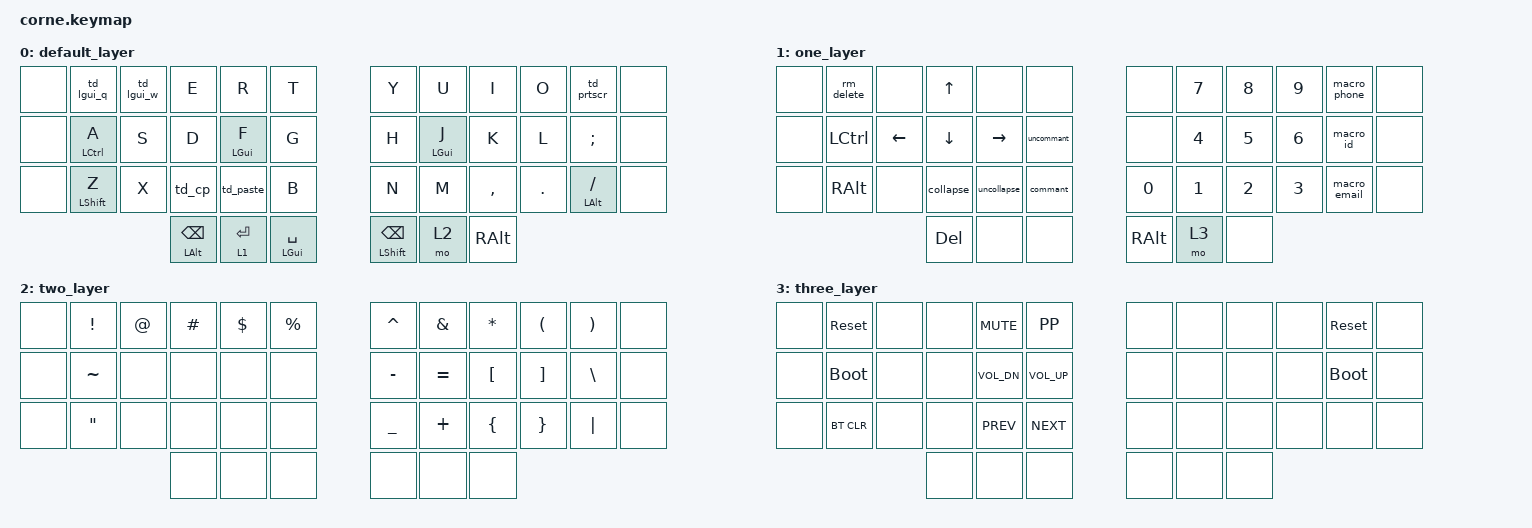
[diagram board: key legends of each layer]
/*
 * Copyright (c) 2020 The ZMK Contributors
 *
 * SPDX-License-Identifier: MIT
 */

#include <behaviors.dtsi>
#include <dt-bindings/zmk/keys.h>
#include <dt-bindings/zmk/bt.h>

// Home row mods macro
#define HRML(k1,k2) &ht LSHFT k1  &ht LALT k2  &ht LCTRL k3  &ht LGUI k4
#define HRMR(k1,k2) &ht RGUI k1  &ht RCTRL k2  &ht RALT k3  &ht RSHFT k4
#define DEFAULT 0
#define LOWER   1
#define RAISE   2
#define TRI     3

#define COMBO(NAME, BINDINGS, KEYPOS) \
  combo_##NAME { \
    timeout-ms = <50>; \
    bindings = <BINDINGS>; \
    key-positions = <KEYPOS>; \
  };

/ {
    behaviors {
        ht: hold_tap {
            label = "hold_tap";
            compatible = "zmk,behavior-hold-tap";
            #binding-cells = <2>;
            flavor = "balanced";
            tapping-term-ms = <200>;
            quick-tap-ms = <0>;
            global-quick-tap;
            bindings = <&kp>, <&kp>;
        };

        td_cp: tap_dance_cp {
            compatible = "zmk,behavior-tap-dance";
            label = "tap_dance_copy";
            #binding-cells = <0>;
            tapping-term-ms = <200>;
            bindings = <&kp C>, <&macro_cp>;
        };

        td_paste: tap_dance_paste {
            compatible = "zmk,behavior-tap-dance";
            label = "tap_dance_paste";
            #binding-cells = <0>;
            tapping-term-ms = <200>;
            bindings = <&kp V>, <&macro_paste>;
        };

        td_lgui_w: tap_dance_lguiw {
            compatible = "zmk,behavior-tap-dance";
            label = "tap_dance_lguiw";
            #binding-cells = <0>;
            tapping-term-ms = <200>;
            bindings = <&kp W>, <&macro_lgui_w>;
        };

        td_lgui_q: tap_dance_lguiq {
            compatible = "zmk,behavior-tap-dance";
            label = "tap_dance_lguiq";
            #binding-cells = <0>;
            tapping-term-ms = <200>;
            bindings = <&kp Q>, <&macro_lgui_q>;
        };

        td_prtscr: tap_dance_prtscr {
            compatible = "zmk,behavior-tap-dance";
            label = "tap_dance_prtscr";
            #binding-cells = <0>;
            tapping-term-ms = <200>;
            bindings = <&kp P>, <&kp P>,<&macro_prtsc>;
        };
    };

    macros {
        macro_cp: macro_cp {
            label = "ZM_macro_cp";
            compatible = "zmk,behavior-macro";
            #binding-cells = <0>;
            bindings
                = <&macro_press &kp LGUI>
                , <&macro_tap &kp C>
                , <&macro_release &kp LGUI>
                ;
        };

        macro_paste: macro_paste {
            label = "ZM_macro_paste";
            compatible = "zmk,behavior-macro";
            #binding-cells = <0>;
            bindings
                = <&macro_press &kp LGUI>
                , <&macro_tap &kp V>
                , <&macro_release &kp LGUI>
                ;
        };

        macro_lgui_w: macro_lgui_w {
            label = "ZM_macro_lgui_w";
            compatible = "zmk,behavior-macro";
            #binding-cells = <0>;
            bindings
                = <&macro_press &kp LGUI>
                , <&macro_tap &kp W>
                , <&macro_release &kp LGUI>
                ;
        };

        macro_lgui_q: macro_lgui_q {
            label = "ZM_macro_lgui_q";
            compatible = "zmk,behavior-macro";
            #binding-cells = <0>;
            bindings
                = <&macro_press &kp LGUI>
                , <&macro_tap &kp Q>
                , <&macro_release &kp LGUI>
                ;
        };

        macro_prtsc: macro_prtsc {
            label = "ZM_macro_prtsc";
            compatible = "zmk,behavior-macro";
            #binding-cells = <0>;
            bindings
                = <&macro_press &kp LGUI>
                , <&macro_press &kp LSHFT>
                , <&macro_tap &kp N4>
                , <&macro_release &kp LGUI>
                , <&macro_release &kp LSHFT>
                ;
        };

        macro_lang: macro_lang {
            label = "ZM_macro_lang";
            compatible = "zmk,behavior-macro";
            #binding-cells = <0>;
            bindings
                = <&macro_press &kp LCTRL>
                , <&macro_press &kp SPACE>
                , <&macro_release &kp SPACE>
                , <&macro_release &kp LCTRL>
                ;
        };  

        commant: commant {
            label = "ZM_commant";
            compatible = "zmk,behavior-macro";
            #binding-cells = <0>;
            bindings
                = <&macro_press &kp LGUI>
                , <&macro_press &kp K>
                , <&macro_release &kp K>
                , <&macro_press &kp LGUI>
                , <&macro_press &kp C>
                , <&macro_release &kp C>
                , <&macro_release &kp LGUI>
                , <&macro_release &kp LGUI>
                ;
        };

        uncommant: uncommant {
            label = "ZM_uncommant";
            compatible = "zmk,behavior-macro";
            #binding-cells = <0>;
            bindings
                = <&macro_press &kp LGUI>
                , <&macro_press &kp K>
                , <&macro_release &kp K>
                , <&macro_press &kp LGUI>
                , <&macro_press &kp U>
                , <&macro_release &kp U>
                , <&macro_release &kp LGUI>
                , <&macro_release &kp LGUI>
                ;
        };

        collapse: collapse {
            label = "ZM_collapse";
            compatible = "zmk,behavior-macro";
            #binding-cells = <0>;
            bindings
                = <&macro_press &kp LGUI>
                , <&macro_press &kp K>
                , <&macro_release &kp K>
                , <&macro_press &kp LGUI>
                , <&macro_press &kp N0>
                , <&macro_release &kp N0>
                , <&macro_release &kp LGUI>
                , <&macro_release &kp LGUI>
                ;
        };
        
        uncollapse: uncollapse {
            label = "ZM_uncollapse";
            compatible = "zmk,behavior-macro";
            #binding-cells = <0>;
            bindings
                = <&macro_press &kp LGUI>
                , <&macro_press &kp K>
                , <&macro_release &kp K>
                , <&macro_press &kp LGUI>
                , <&macro_press &kp J>
                , <&macro_release &kp J>
                , <&macro_release &kp LGUI>
                , <&macro_release &kp LGUI>
                ;
        };

        rm_delete: rm_delete {
            label = "ZM_rm_delete";
            compatible = "zmk,behavior-macro";
            #binding-cells = <0>;
            bindings
                = <&macro_press &kp LGUI>
                , <&macro_press &kp LALT>
                , <&macro_press &kp BSPC>
                , <&macro_release &kp LGUI>
                , <&macro_release &kp LALT>
                , <&macro_release &kp BSPC>
                ;
        };

        macro_email: macro_email {
            label = "ZM_macro_email";
            compatible = "zmk,behavior-macro";
            #binding-cells = <0>;
            bindings
                = <&macro_press &kp O>
                , <&macro_release &kp O>
                , <&macro_press &kp R>
                , <&macro_release &kp R>
                , <&macro_press &kp I>
                , <&macro_release &kp I>
                , <&macro_press &kp L>
                , <&macro_release &kp L>
                , <&macro_press &kp A>
                , <&macro_release &kp A>
                , <&macro_press &kp N>
                , <&macro_release &kp N>
                , <&macro_press &kp I>
                , <&macro_release &kp I>
                , <&macro_press &kp N0>
                , <&macro_release &kp N0>
                , <&macro_press &kp N5>
                , <&macro_release &kp N5>
                , <&macro_press &kp N5>
                , <&macro_release &kp N5>
                , <&macro_press &kp AT>
                , <&macro_release &kp AT>
                , <&macro_press &kp G>
                , <&macro_release &kp G>
                , <&macro_press &kp M>
                , <&macro_release &kp M>
                , <&macro_press &kp A>
                , <&macro_release &kp A>
                , <&macro_press &kp I>
                , <&macro_release &kp I>
                , <&macro_press &kp L>
                , <&macro_release &kp L>
                , <&macro_press &kp DOT>
                , <&macro_release &kp DOT>
                , <&macro_press &kp C>
                , <&macro_release &kp C>
                , <&macro_press &kp O>
                , <&macro_release &kp O>
                , <&macro_press &kp M>
                , <&macro_release &kp M>
                ;
        }; 

        macro_id: macro_id {
            label = "ZM_macro_id";
            compatible = "zmk,behavior-macro";
            #binding-cells = <0>;
            bindings
                = <&macro_press &kp N3>
                , <&macro_release &kp N3>
                , <&macro_press &kp N0>
                , <&macro_release &kp N0>
                , <&macro_press &kp N7>
                , <&macro_release &kp N7>
                , <&macro_press &kp N9>
                , <&macro_release &kp N9>
                , <&macro_press &kp N3>
                , <&macro_release &kp N3>
                , <&macro_press &kp N4>
                , <&macro_release &kp N4>
                , <&macro_press &kp N4>
                , <&macro_release &kp N4>
                , <&macro_press &kp N0>
                , <&macro_release &kp N0>
                , <&macro_press &kp N6>
                , <&macro_release &kp N6>
                ;
        };

        macro_phone: macro_phone {
            label = "ZM_macro_phone";
            compatible = "zmk,behavior-macro";
            #binding-cells = <0>;
            bindings
                = <&macro_press &kp N0>
                , <&macro_release &kp N0>
                , <&macro_press &kp N5>
                , <&macro_release &kp N5>
                , <&macro_press &kp N4>
                , <&macro_release &kp N4>
                , <&macro_press &kp N8>
                , <&macro_release &kp N8>
                , <&macro_press &kp N0>
                , <&macro_release &kp N0>
                , <&macro_press &kp N5>
                , <&macro_release &kp N5>
                , <&macro_press &kp N3>
                , <&macro_release &kp N3>
                , <&macro_press &kp N0>
                , <&macro_release &kp N0>
                , <&macro_press &kp N2>
                , <&macro_release &kp N2>
                , <&macro_press &kp N2>
                , <&macro_release &kp N2>
                ;
        };
    };

    combos {
            compatible = "zmk,combos";
                    
            COMBO(esckey, &kp ESC, 1 2)
            COMBO(langkey, &macro_lang, 13 14)
            COMBO(dqoutes, &kp DOUBLE_QUOTES, 21 22)
            COMBO(commakey, &kp SINGLE_QUOTE, 33 34)
            COMBO(tabkey, &kp TAB, 25 26)
    };

    keymap {
        compatible = "zmk,keymap";
        
        default_layer {
            bindings = <
        //╭──────────┬──────────┬──────────┬──────────┬──────────┬──────────╮   ╭──────────┬──────────┬──────────┬──────────┬──────────────┬──────────╮
        //│          │  Q       │  W       │  E       │  R       │  T       │   │  Y       │  U       │  I       │  O       │  P           │   
            &none     &td_lgui_q  &td_lgui_w &kp E     &kp R      &kp T          &kp Y      &kp U       &kp I      &kp O      &td_prtscr      &none
        //├──────────├──────────┼──────────┼──────────┼──────────┼──────────┤   ├──────────┼──────────┼──────────┼──────────┼──────────────┼──────────┤
        //│          │  A       │  S       │  D       │  F       │  G       │   │  H       │  J       │  K       │  L       │ ' "          │    
            &none     &ht LCTRL A  &kp S     &kp D    &ht LGUI F   &kp G          &kp H     &ht LGUI J  &kp K     &kp L      &kp SEMICOLON    &none
        //├──────────├──────────┼──────────┼──────────┼──────────┼──────────┤   ├──────────┼──────────┼──────────┼──────────┼──────────────┼──────────┤
        //│          │  Z       │  X       │  C       │  V       │  B       │   │  N       │  M       │ , <      │ . >      │ / ?          │   
            &none     &ht LSHFT Z   &kp X    &td_cp    &td_paste   &kp B          &kp N      &kp M      &kp COMMA  &kp DOT    &ht LALT FSLH   &none
        //╰──────────┴──────────┴──────────┴──────────┼──────────┼──────────┤   ├──────────┼──────────┼──────────┴──────────┴──────────────┴──────────╯
                                        &ht LALT BSPC  &lt 1 ENTER &ht LGUI SPACE &ht LSHFT BSPC &mo 2  &kp RALT
        //                             ╰──────────────┴──────────┴──────────╯  ╰──────────┴──────────┴──────────╯
            >;
        };

        one_layer {
            bindings = <
        //╭──────────┬──────────┬──────────┬──────────┬──────────┬──────────╮   ╭──────────┬──────────┬──────────┬──────────┬──────────┬──────────╮
        //│          │          │          │  UP      │          │          │   │          │     7    │  8       │   9      │  PHONE   │          │
            &none     &rm_delete   &none     &kp UP     &none      &none           &none      &kp N7    &kp N8     &kp N9    &macro_phone  &none
        //├──────────├──────────┼──────────┼──────────┼──────────┼──────────┤   ├──────────┼──────────┼──────────┼──────────┼──────────┼──────────┤
        //│          │  LCTRL   │  LEFT    │  DOWN    │  RIGHT   │          │   │          │    4     │    5     │  6       │   ID     │          │
            &none      &kp LCTRL  &kp LEFT   &kp DOWN  &kp RIGHT  &uncommant       &none     &kp N4     &kp N5     &kp N6     &macro_id   &none
        //├──────────├──────────┼──────────┼──────────┼──────────┼──────────┤   ├──────────┼──────────┼──────────┼──────────┼──────────┼──────────┤
        //│          │   RALT   │          │          │          │          │   │  0       │  1       │    2     │   3      │  EMAIL   │          │
            &none      &kp RALT    &none    &collapse &uncollapse  &commant       &kp N0     &kp N1     &kp N2     &kp N3   &macro_email  &none
        //╰──────────┴──────────┴──────────┴──────────┼──────────┼──────────┤   ├──────────┼──────────┼──────────┴──────────┴──────────┴──────────╯
                                            &kp DELETE    &none      &none         &kp RALT   &mo 3      &none
        //                                 ╰──────────┴──────────┴──────────╯   ╰──────────┴──────────┴──────────╯
            >;
        };

        two_layer {
            bindings = <
        //╭──────────┬──────────┬──────────┬──────────┬──────────┬──────────╮   ╭──────────┬──────────┬──────────┬──────────┬──────────┬──────────╮
        //│          │   !      │    @     │    #     │    $     │    %     │   │     ^    │    &     │    *     │    (     │    )     │          │
            &none      &kp EXCL    &kp AT   &kp HASH   &kp DLLR   &kp PRCNT       &kp CARET  &kp AMPS   &kp STAR   &kp LPAR   &kp RPAR    &none
        //├──────────├──────────┼──────────┼──────────┼──────────┼──────────┤   ├──────────┼──────────┼──────────┼──────────┼──────────┼──────────┤
        //│          │    ~     │          │          │          │          │   │    -     │    =     │    [     │   ]      │    \     │          │
            &none      &kp TILDE   &none      &none      &none      &none        &kp MINUS  &kp EQUAL  &kp LBKT    &kp RBKT  &kp BACKSLASH &none
        //├──────────├──────────┼──────────┼──────────┼──────────┼──────────┤   ├──────────┼──────────┼──────────┼──────────┼──────────┼──────────┤
        //│          │    "     │          │          │          │          │   │     _    │    +     │   {      │     }    │    |     │          │
            &none  &kp DOUBLE_QUOTES &none    &none      &none      &none        &kp UNDER   &kp PLUS   &kp LBRC   &kp RBRC   &kp PIPE      &none
        //╰──────────┴──────────┴──────────┴──────────┼──────────┼──────────┤   ├──────────┼──────────┼──────────┴──────────┴──────────┴──────────╯
                                              &none      &none      &none          &none      &none       &none
        //                                 ╰──────────┴──────────┴──────────╯   ╰──────────┴──────────┴──────────╯
            >;
        };

        three_layer {
            bindings = <
        //╭──────────┬──────────┬──────────┬──────────┬──────────┬──────────╮   ╭──────────┬──────────┬──────────┬──────────┬─────────────┬─────────────╮
        //│          │ RESET    │          │          │          │          │              │          │          │          │  RESET      │             │
            &none     &sys_reset   &none      &none    &kp K_MUTE  &kp K_PP        &none      &none      &none      &none     &sys_reset      &none
        //├──────────├──────────┼──────────┼──────────┼──────────┼──────────┤   ├──────────┼──────────┼──────────┼──────────┼─────────────┼─────────────┤
        //│          │BOOTLOADER│          │          │          │          │              │          │          │          │BOOTLOADER   │     
            &none     &bootloader  &none     &none  &kp K_VOL_DN &kp K_VOL_UP     &none      &none      &none      &none     &bootloader    &none
        //├──────────├──────────┼──────────┼──────────┼──────────┼──────────┤   ├──────────┼──────────┼──────────┼──────────┼─────────────┼─────────────┤
        //│          │          │          │          │          │          │              │          │          │          │    
             &none    &bt BT_CLR   &none      &none    &kp K_PREV &kp K_NEXT       &none      &none      &none      &none       &none         &none
        //╰──────────┴──────────┴──────────┴──────────┼──────────┼──────────┤   ├──────────┼──────────┼──────────┴──────────┴─────────────┴─────────────╯
                                              &none      &none      &none          &none      &none      &none
        //                                 ╰──────────┴──────────┴──────────╯   ╰──────────┴──────────┴──────────╯
            >;
        };
    };
};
